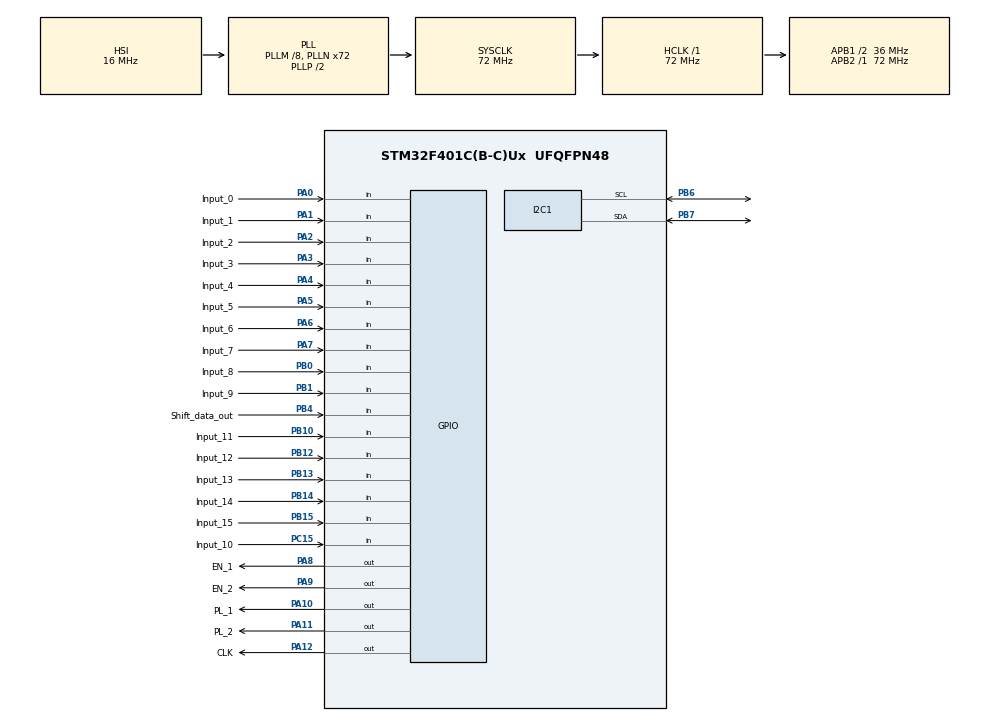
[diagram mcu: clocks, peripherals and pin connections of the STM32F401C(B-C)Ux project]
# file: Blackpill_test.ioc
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Mcu.Family=STM32F4
Mcu.Name=STM32F401C(B-C)Ux
Mcu.Package=UFQFPN48
NVIC.PriorityGroup=NVIC_PRIORITYGROUP_4
PA0-WKUP.GPIO_Label=Input_0
PA0-WKUP.GPIO_PuPd=GPIO_PULLUP
PA0-WKUP.Signal=GPIO_Input
PA1.GPIO_Label=Input_1
PA1.GPIO_PuPd=GPIO_PULLUP
PA1.Signal=GPIO_Input
PA10.GPIO_Label=PL_1
PA10.Signal=GPIO_Output
PA11.GPIO_Label=PL_2
PA11.Signal=GPIO_Output
PA12.GPIO_Label=CLK
PA12.Signal=GPIO_Output
PA13.Mode=Serial_Wire
PA13.Signal=SYS_JTMS-SWDIO
PA14.Mode=Serial_Wire
PA14.Signal=SYS_JTCK-SWCLK
PA2.GPIO_Label=Input_2
PA2.GPIO_PuPd=GPIO_PULLUP
PA2.Signal=GPIO_Input
PA3.GPIO_Label=Input_3
PA3.GPIO_PuPd=GPIO_PULLUP
PA3.Signal=GPIO_Input
PA4.GPIO_Label=Input_4
PA4.GPIO_PuPd=GPIO_PULLUP
PA4.Signal=GPIO_Input
PA5.GPIO_Label=Input_5
PA5.GPIO_PuPd=GPIO_PULLUP
PA5.Signal=GPIO_Input
PA6.GPIO_Label=Input_6
PA6.GPIO_PuPd=GPIO_PULLUP
PA6.Signal=GPIO_Input
PA7.GPIO_Label=Input_7
PA7.GPIO_PuPd=GPIO_PULLUP
PA7.Signal=GPIO_Input
PA8.GPIO_Label=EN_1
PA8.GPIO_PuPd=GPIO_NOPULL
PA8.Signal=GPIO_Output
PA9.GPIO_Label=EN_2
PA9.Signal=GPIO_Output
PB0.GPIO_Label=Input_8
PB0.GPIO_PuPd=GPIO_PULLUP
PB0.Signal=GPIO_Input
PB1.GPIO_Label=Input_9
PB1.GPIO_PuPd=GPIO_PULLUP
PB1.Signal=GPIO_Input
PB10.GPIO_Label=Input_11
PB10.GPIO_PuPd=GPIO_PULLUP
PB10.Signal=GPIO_Input
PB12.GPIO_Label=Input_12
PB12.GPIO_PuPd=GPIO_PULLUP
PB12.Signal=GPIO_Input
PB13.GPIO_Label=Input_13
PB13.GPIO_PuPd=GPIO_PULLUP
PB13.Signal=GPIO_Input
PB14.GPIO_Label=Input_14
PB14.GPIO_PuPd=GPIO_PULLUP
PB14.Signal=GPIO_Input
PB15.GPIO_Label=Input_15
PB15.GPIO_PuPd=GPIO_PULLUP
PB15.Signal=GPIO_Input
PB4.GPIO_Label=Shift_data_out
PB4.Signal=GPIO_Input
PB6.Mode=I2C
PB6.Signal=I2C1_SCL
PB7.Mode=I2C
PB7.Signal=I2C1_SDA
PC15-OSC32_OUT.GPIO_Label=Input_10
PC15-OSC32_OUT.GPIO_PuPd=GPIO_PULLUP
PC15-OSC32_OUT.Signal=GPIO_Input
ProjectManager.HeapSize=0x200
ProjectManager.StackSize=0x400
ProjectManager.TargetToolchain=STM32CubeIDE
RCC.48MHZClocksFreq_Value=36000000
RCC.AHBFreq_Value=72000000
RCC.APB1CLKDivider=RCC_HCLK_DIV2
RCC.APB1Freq_Value=36000000
RCC.APB1TimFreq_Value=72000000
RCC.APB2Freq_Value=72000000
RCC.APB2TimFreq_Value=72000000
RCC.CortexFreq_Value=72000000
RCC.HCLKFreq_Value=72000000
RCC.HSE_VALUE=25000000
RCC.HSI_VALUE=16000000
RCC.LSE_VALUE=32768
RCC.PLLM=8
RCC.PLLN=72
RCC.SYSCLKFreq_VALUE=72000000
RCC.SYSCLKSource=RCC_SYSCLKSOURCE_PLLCLK
RCC.VCOOutputFreq_Value=144000000
TIM1.Period=0xffff-1
TIM1.Prescaler=72-1
VP_TIM1_VS_ClockSourceINT.Mode=Internal
board=custom

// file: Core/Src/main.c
/* USER CODE BEGIN Header */
/**
  ******************************************************************************
  * @file           : main.c
  * @brief          : Main program body
  ******************************************************************************
  * @attention
  *
  * Copyright (c) 2023 STMicroelectronics.
  * All rights reserved.
  *
  * This software is licensed under terms that can be found in the LICENSE file
  * in the root directory of this software component.
  * If no LICENSE file comes with this software, it is provided AS-IS.
  *
  ******************************************************************************
  */
/* USER CODE END Header */
#include "main.h"

/* USER CODE BEGIN Includes */
#include "MCP4725.h"
#include <stdbool.h>

#define DAC8051_add_w  0x90
#define DAC8051_add_r  0x91

uint8_t tx_data1 = 0x08 ;
uint16_t rx_data1 = 0 ;

//uint8_t tx_data2 = 0x08

uint16_t tx_data2 = 0 ;
uint16_t tx_data3 = 65500 ;

uint16_t parallel_data_temp = 0;
uint16_t parallel_data = 0;
 uint16_t serial_data_temp = 0;
 uint16_t serial_data_temp1 = 0;
 uint16_t serial_data= 0;
bool is_mcp_connected = 0;
bool  input0 = false ;
 bool temp = false ;

MCP4725 myMCP4725;
uint32_t micro_seconds = 0;

/* USER CODE END Includes */

I2C_HandleTypeDef hi2c1;

TIM_HandleTypeDef htim1;

void SystemClock_Config(void);
static void MX_GPIO_Init(void);
static void MX_I2C1_Init(void);
static void MX_TIM1_Init(void);

/* USER CODE BEGIN 0 */

void parallel_data_read()
{
	parallel_data_temp = 0x0000;
	parallel_data_temp = HAL_GPIO_ReadPin(Input_0_GPIO_Port, Input_0_Pin) | 0x0000 ;
    parallel_data_temp |= HAL_GPIO_ReadPin(Input_1_GPIO_Port, Input_1_Pin) << 1 ;
    parallel_data_temp |= HAL_GPIO_ReadPin(Input_2_GPIO_Port, Input_2_Pin) << 2 ;
    parallel_data_temp |= HAL_GPIO_ReadPin(Input_3_GPIO_Port, Input_3_Pin) << 3 ;
    parallel_data_temp |= HAL_GPIO_ReadPin(Input_4_GPIO_Port, Input_4_Pin) << 4 ;
    parallel_data_temp |= HAL_GPIO_ReadPin(Input_5_GPIO_Port, Input_5_Pin) << 5 ;
    parallel_data_temp |= HAL_GPIO_ReadPin(Input_6_GPIO_Port, Input_6_Pin) << 6 ;
    parallel_data_temp |= HAL_GPIO_ReadPin(Input_7_GPIO_Port, Input_7_Pin) << 7 ;
    parallel_data_temp |= HAL_GPIO_ReadPin(Input_8_GPIO_Port, Input_8_Pin) << 8 ;
    parallel_data_temp |= HAL_GPIO_ReadPin(Input_9_GPIO_Port, Input_9_Pin) << 9 ;
    parallel_data_temp |= HAL_GPIO_ReadPin(Input_10_GPIO_Port, Input_10_Pin) << 10 ;
    parallel_data_temp |= HAL_GPIO_ReadPin(Input_11_GPIO_Port, Input_11_Pin) << 11 ;
    parallel_data_temp |= HAL_GPIO_ReadPin(Input_12_GPIO_Port, Input_12_Pin) << 12 ;
    parallel_data_temp |= HAL_GPIO_ReadPin(Input_13_GPIO_Port, Input_13_Pin) << 13 ;
    parallel_data_temp |= HAL_GPIO_ReadPin(Input_14_GPIO_Port, Input_14_Pin) << 14 ;
    parallel_data_temp |= HAL_GPIO_ReadPin(Input_15_GPIO_Port, Input_15_Pin) << 15 ;

    parallel_data_temp = ~ parallel_data_temp ;
    parallel_data = parallel_data_temp ;

}

void serial_data_read()
{
	HAL_GPIO_WritePin(EN_1_GPIO_Port , EN_1_Pin , 0);
	HAL_GPIO_WritePin(EN_2_GPIO_Port , EN_2_Pin , 0);
	HAL_GPIO_WritePin(PL_1_GPIO_Port , PL_1_Pin , 0);
	HAL_Delay(2);
	HAL_GPIO_WritePin(PL_1_GPIO_Port , PL_1_Pin , 1);
	HAL_GPIO_WritePin(PL_2_GPIO_Port , PL_2_Pin , 1);

    serial_data_temp = 0;
	serial_data_temp1 = 0;

	HAL_Delay(10);

//	serial_data_temp =  HAL_GPIO_ReadPin(Shift_data_out_GPIO_Port, Shift_data_out_Pin);

     	for(int i=0 ; i<7 ; i++)
		{
			HAL_GPIO_WritePin(CLK_GPIO_Port , CLK_Pin , 1);
		    HAL_Delay(2);
		    HAL_GPIO_WritePin(CLK_GPIO_Port , CLK_Pin , 0);
			HAL_Delay(2);
		}

	for(int i=0 ; i<8 ; i++)
	{
		HAL_GPIO_WritePin(CLK_GPIO_Port , CLK_Pin , 1);
	    HAL_Delay(2);
	    HAL_GPIO_WritePin(CLK_GPIO_Port , CLK_Pin , 0);
		HAL_Delay(2);
		temp = HAL_GPIO_ReadPin(Shift_data_out_GPIO_Port, Shift_data_out_Pin) ;
		serial_data_temp |=  HAL_GPIO_ReadPin(Shift_data_out_GPIO_Port, Shift_data_out_Pin) << i;
	}

	HAL_GPIO_WritePin(EN_1_GPIO_Port , EN_1_Pin , 1);
	HAL_GPIO_WritePin(PL_2_GPIO_Port , PL_2_Pin , 0);
	HAL_Delay(2);
	HAL_GPIO_WritePin(PL_2_GPIO_Port , PL_2_Pin , 1);

	serial_data_temp1 |=  HAL_GPIO_ReadPin(Shift_data_out_GPIO_Port, Shift_data_out_Pin) ;

	for(int i = 1; i < 8 ; i++)
	{
		HAL_GPIO_WritePin(CLK_GPIO_Port , CLK_Pin , 1);
	    HAL_Delay(2);
        HAL_GPIO_WritePin(CLK_GPIO_Port , CLK_Pin , 0);
        HAL_Delay(2);
	    temp = HAL_GPIO_ReadPin(Shift_data_out_GPIO_Port, Shift_data_out_Pin);
	    serial_data_temp1 |=  HAL_GPIO_ReadPin(Shift_data_out_GPIO_Port, Shift_data_out_Pin) << (i);
	}

	HAL_GPIO_WritePin(EN_2_GPIO_Port , EN_2_Pin , 1);
	serial_data_temp = ~ serial_data_temp ;
	serial_data = serial_data_temp ;
}

void serial_data_read2()
{
	HAL_GPIO_WritePin(EN_1_GPIO_Port , EN_1_Pin , 0);
	HAL_GPIO_WritePin(EN_2_GPIO_Port , EN_2_Pin , 0);
	HAL_GPIO_WritePin(PL_1_GPIO_Port , PL_1_Pin , 0);
	HAL_GPIO_WritePin(PL_2_GPIO_Port , PL_2_Pin , 0);
	HAL_Delay(3);
	HAL_GPIO_WritePin(PL_1_GPIO_Port , PL_1_Pin , 1);
    HAL_GPIO_WritePin(PL_2_GPIO_Port , PL_2_Pin , 1);

    for(int i=0 ; i < 16 ; i++)
    {
    	temp = HAL_GPIO_ReadPin(Shift_data_out_GPIO_Port, Shift_data_out_Pin) ;
    	serial_data_temp |=  HAL_GPIO_ReadPin(Shift_data_out_GPIO_Port, Shift_data_out_Pin) << i;

        HAL_GPIO_WritePin(CLK_GPIO_Port , CLK_Pin , 1);
    	HAL_Delay(2);
        HAL_GPIO_WritePin(CLK_GPIO_Port , CLK_Pin , 0);
        HAL_Delay(2);

    }

	HAL_GPIO_WritePin(EN_2_GPIO_Port , EN_2_Pin , 1);
	HAL_GPIO_WritePin(EN_1_GPIO_Port , EN_1_Pin , 1);
	serial_data_temp = ~ serial_data_temp ;
	serial_data = serial_data_temp ;
}

void dac80501()
{

HAL_I2C_Master_Transmit(&hi2c1, DAC8051_add_w, &tx_data1, 1, 100);
HAL_I2C_Master_Receive(&hi2c1, DAC8051_add_r, &rx_data1, 2 ,100);

HAL_I2C_Master_Transmit(&hi2c1, DAC8051_add_w, &tx_data2, 1, 100);
HAL_I2C_Master_Receive(&hi2c1, DAC8051_add_r, &rx_data1, 2 ,100);

HAL_I2C_Master_Transmit(&hi2c1, DAC8051_add_w, &tx_data1, 1, 100);
HAL_I2C_Master_Receive(&hi2c1, DAC8051_add_r, &rx_data1, 2 ,100);

HAL_I2C_Master_Transmit(&hi2c1, DAC8051_add_w, &tx_data3, 1, 100);
HAL_I2C_Master_Receive(&hi2c1, DAC8051_add_r, &rx_data1, 2 ,100);

}

uint8_t setValue(uint16_t value){
	return MCP4725_setValue(&myMCP4725, value, MCP4725_FAST_MODE, MCP4725_POWER_DOWN_OFF);
}

void delay_us (uint16_t us)
{
	__HAL_TIM_SET_COUNTER(&htim1,0);  // set the counter value a 0
	while (__HAL_TIM_GET_COUNTER(&htim1) < us);  // wait for the counter to reach the us input in the parameter
}

/* USER CODE END 0 */

int main(void)
{

  /* MCU Configuration--------------------------------------------------------*/

  /* Reset of all peripherals, Initializes the Flash interface and the Systick. */
  HAL_Init();

  /* Configure the system clock */
  SystemClock_Config();

  /* Initialize all configured peripherals */
  MX_GPIO_Init();
  MX_I2C1_Init();
  MX_TIM1_Init();

  HAL_TIM_Base_Start(&htim1);
  /* USER CODE BEGIN 2 */
//  myMCP4725 = MCP4725_init(&hi2c1, MCP4725A0_ADDR_A00, 3.3);
//  		// Check the connection:
//  		if(MCP4725_isConnected(&myMCP4725)){
//  			is_mcp_connected = 1;
//  		}
//  		else{
//  			is_mcp_connected = 0;
////  			while(1);
//  		}

  		HAL_GPIO_WritePin(CLK_GPIO_Port , CLK_Pin , 0);
  /* USER CODE END 2 */

  /* Infinite loop */
  while (1)
  {

    /* USER CODE BEGIN 3 */
//	  parallel_data_read();
//	  serial_data_read();
//	  serial_data_read2();

	  dac80501() ;

//	  digitalWrite(EnablePin, HIGH);
//	      digitalWrite(LoadPin, LOW);
//	      delayMicroseconds(5);
//	      digitalWrite(LoadPin, HIGH);
//	      digitalWrite(EnablePin, LOW);
//
//	      for(int i = 0; i < DATA_WIDTH; i++)
//	      {
//	          bitVal = digitalRead(DataPin);
//	          bytesVal |= (bitVal << ((DATA_WIDTH-1) - i));
//
//	          digitalWrite(ClockPin, HIGH);
//	          delayMicroseconds(5);
//	          digitalWrite(ClockPin, LOW);
//	      }
//	  serial_data_temp = 0;
//
//	           	  	HAL_GPIO_WritePin(EN_1_GPIO_Port , EN_1_Pin , 1);
//	      	     	HAL_GPIO_WritePin(PL_1_GPIO_Port , PL_1_Pin , 0);
////	      	     	HAL_Delay(5);
//	      	     	delay_us(5);
//	      	     	HAL_GPIO_WritePin(PL_1_GPIO_Port , PL_1_Pin , 1);
//	      	     	HAL_GPIO_WritePin(EN_1_GPIO_Port , EN_1_Pin , 0);
//
//	      	     	HAL_Delay(1000);
//
//	      	     	for (int i=0 ; i<7 ; i++)
//	      	     	{
//	      	     	 HAL_Delay(5);
//	      	     		temp = HAL_GPIO_ReadPin(Shift_data_out_GPIO_Port, Shift_data_out_Pin);
//	      	     	    serial_data_temp |=  HAL_GPIO_ReadPin(Shift_data_out_GPIO_Port, Shift_data_out_Pin) << (i);
//	      	     	 HAL_Delay(3);
//
//
//	      	         HAL_GPIO_WritePin(CLK_GPIO_Port , CLK_Pin , 1);
////	      	        HAL_Delay(10);
//	      	        delay_us(5);
//	      	         HAL_GPIO_WritePin(CLK_GPIO_Port , CLK_Pin , 0);
////	      	        HAL_Delay(10);
//
//	      	     	}
//
//	serial_data = serial_data_temp ;

//     	  	HAL_GPIO_WritePin(EN_1_GPIO_Port , EN_1_Pin , 1);
//	     	HAL_GPIO_WritePin(PL_2_GPIO_Port , PL_2_Pin , 0);

//	        HAL_GPIO_WritePin(CLK_GPIO_Port , CLK_Pin , 0);
//	  		HAL_Delay(2);
//	  		HAL_GPIO_WritePin(CLK_GPIO_Port , CLK_Pin , 1);
//	  		HAL_Delay(2);

//	  setValue(parallel_data >> 4);

//	  	input0 = HAL_GPIO_ReadPin(Input_0_GPIO_Port, Input_0_Pin) ;
//	  	input0 = HAL_GPIO_ReadPin(Input_1_GPIO_Port, Input_1_Pin) ;
//	  	input0 = HAL_GPIO_ReadPin(Input_2_GPIO_Port, Input_2_Pin)  ;
//	  	input0 = HAL_GPIO_ReadPin(Input_3_GPIO_Port, Input_3_Pin) ;
//	  	input0 = HAL_GPIO_ReadPin(Input_4_GPIO_Port, Input_4_Pin)  ;
//	  	input0 = HAL_GPIO_ReadPin(Input_5_GPIO_Port, Input_5_Pin)  ;
//	  	input0 = HAL_GPIO_ReadPin(Input_6_GPIO_Port, Input_6_Pin) ;
//	  	input0 = HAL_GPIO_ReadPin(Input_7_GPIO_Port, Input_7_Pin)  ;
//	  	input0 = HAL_GPIO_ReadPin(Input_8_GPIO_Port, Input_8_Pin) ;
//	  	input0 = HAL_GPIO_ReadPin(Input_9_GPIO_Port, Input_9_Pin)  ;
//		input0 = HAL_GPIO_ReadPin(Input_10_GPIO_Port, Input_10_Pin) ;
//		input0  = HAL_GPIO_ReadPin(Input_11_GPIO_Port, Input_11_Pin) ;
//		input0  = HAL_GPIO_ReadPin(Input_12_GPIO_Port, Input_12_Pin)  ;
//		input0  = HAL_GPIO_ReadPin(Input_13_GPIO_Port, Input_13_Pin)  ;
//		input0 = HAL_GPIO_ReadPin(Input_14_GPIO_Port, Input_14_Pin)  ;
//		input0 = HAL_GPIO_ReadPin(Input_15_GPIO_Port, Input_15_Pin) ;

  }
  /* USER CODE END 3 */
}

void SystemClock_Config(void)
{
  RCC_OscInitTypeDef RCC_OscInitStruct = {0};
  RCC_ClkInitTypeDef RCC_ClkInitStruct = {0};

  /** Configure the main internal regulator output voltage
  */
  __HAL_RCC_PWR_CLK_ENABLE();
  __HAL_PWR_VOLTAGESCALING_CONFIG(PWR_REGULATOR_VOLTAGE_SCALE2);

  /** Initializes the RCC Oscillators according to the specified parameters
  * in the RCC_OscInitTypeDef structure.
  */
  RCC_OscInitStruct.OscillatorType = RCC_OSCILLATORTYPE_HSI;
  RCC_OscInitStruct.HSIState = RCC_HSI_ON;
  RCC_OscInitStruct.HSICalibrationValue = RCC_HSICALIBRATION_DEFAULT;
  RCC_OscInitStruct.PLL.PLLState = RCC_PLL_ON;
  RCC_OscInitStruct.PLL.PLLSource = RCC_PLLSOURCE_HSI;
  RCC_OscInitStruct.PLL.PLLM = 8;
  RCC_OscInitStruct.PLL.PLLN = 72;
  RCC_OscInitStruct.PLL.PLLP = RCC_PLLP_DIV2;
  RCC_OscInitStruct.PLL.PLLQ = 4;
  if (HAL_RCC_OscConfig(&RCC_OscInitStruct) != HAL_OK)
  {
    Error_Handler();
  }

  /** Initializes the CPU, AHB and APB buses clocks
  */
  RCC_ClkInitStruct.ClockType = RCC_CLOCKTYPE_HCLK|RCC_CLOCKTYPE_SYSCLK
                              |RCC_CLOCKTYPE_PCLK1|RCC_CLOCKTYPE_PCLK2;
  RCC_ClkInitStruct.SYSCLKSource = RCC_SYSCLKSOURCE_PLLCLK;
  RCC_ClkInitStruct.AHBCLKDivider = RCC_SYSCLK_DIV1;
  RCC_ClkInitStruct.APB1CLKDivider = RCC_HCLK_DIV2;
  RCC_ClkInitStruct.APB2CLKDivider = RCC_HCLK_DIV1;

  if (HAL_RCC_ClockConfig(&RCC_ClkInitStruct, FLASH_LATENCY_2) != HAL_OK)
  {
    Error_Handler();
  }
}

static void MX_I2C1_Init(void)
{

  hi2c1.Instance = I2C1;
  hi2c1.Init.ClockSpeed = 100000;
  hi2c1.Init.DutyCycle = I2C_DUTYCYCLE_2;
  hi2c1.Init.OwnAddress1 = 0;
  hi2c1.Init.AddressingMode = I2C_ADDRESSINGMODE_7BIT;
  hi2c1.Init.DualAddressMode = I2C_DUALADDRESS_DISABLE;
  hi2c1.Init.OwnAddress2 = 0;
  hi2c1.Init.GeneralCallMode = I2C_GENERALCALL_DISABLE;
  hi2c1.Init.NoStretchMode = I2C_NOSTRETCH_DISABLE;
  if (HAL_I2C_Init(&hi2c1) != HAL_OK)
  {
    Error_Handler();
  }

}

static void MX_TIM1_Init(void)
{

  TIM_ClockConfigTypeDef sClockSourceConfig = {0};
  TIM_MasterConfigTypeDef sMasterConfig = {0};

  htim1.Instance = TIM1;
  htim1.Init.Prescaler = 72-1;
  htim1.Init.CounterMode = TIM_COUNTERMODE_UP;
  htim1.Init.Period = 0xffff-1;
  htim1.Init.ClockDivision = TIM_CLOCKDIVISION_DIV1;
  htim1.Init.RepetitionCounter = 0;
  htim1.Init.AutoReloadPreload = TIM_AUTORELOAD_PRELOAD_DISABLE;
  if (HAL_TIM_Base_Init(&htim1) != HAL_OK)
  {
    Error_Handler();
  }
  sClockSourceConfig.ClockSource = TIM_CLOCKSOURCE_INTERNAL;
  if (HAL_TIM_ConfigClockSource(&htim1, &sClockSourceConfig) != HAL_OK)
  {
    Error_Handler();
  }
  sMasterConfig.MasterOutputTrigger = TIM_TRGO_RESET;
  sMasterConfig.MasterSlaveMode = TIM_MASTERSLAVEMODE_DISABLE;
  if (HAL_TIMEx_MasterConfigSynchronization(&htim1, &sMasterConfig) != HAL_OK)
  {
    Error_Handler();
  }

}

static void MX_GPIO_Init(void)
{
  GPIO_InitTypeDef GPIO_InitStruct = {0};

  /* GPIO Ports Clock Enable */
  __HAL_RCC_GPIOC_CLK_ENABLE();
  __HAL_RCC_GPIOA_CLK_ENABLE();
  __HAL_RCC_GPIOB_CLK_ENABLE();

  /*Configure GPIO pin Output Level */
  HAL_GPIO_WritePin(GPIOA, EN_1_Pin|EN_2_Pin|PL_1_Pin|PL_2_Pin
                          |CLK_Pin, GPIO_PIN_RESET);

  /*Configure GPIO pin : Input_10_Pin */
  GPIO_InitStruct.Pin = Input_10_Pin;
  GPIO_InitStruct.Mode = GPIO_MODE_INPUT;
  GPIO_InitStruct.Pull = GPIO_PULLUP;
  HAL_GPIO_Init(Input_10_GPIO_Port, &GPIO_InitStruct);

  /*Configure GPIO pins : Input_0_Pin Input_1_Pin Input_2_Pin Input_3_Pin
                           Input_4_Pin Input_5_Pin Input_6_Pin Input_7_Pin */
  GPIO_InitStruct.Pin = Input_0_Pin|Input_1_Pin|Input_2_Pin|Input_3_Pin
                          |Input_4_Pin|Input_5_Pin|Input_6_Pin|Input_7_Pin;
  GPIO_InitStruct.Mode = GPIO_MODE_INPUT;
  GPIO_InitStruct.Pull = GPIO_PULLUP;
  HAL_GPIO_Init(GPIOA, &GPIO_InitStruct);

  /*Configure GPIO pins : Input_8_Pin Input_9_Pin Input_11_Pin Input_12_Pin
                           Input_13_Pin Input_14_Pin Input_15_Pin */
  GPIO_InitStruct.Pin = Input_8_Pin|Input_9_Pin|Input_11_Pin|Input_12_Pin
                          |Input_13_Pin|Input_14_Pin|Input_15_Pin;
  GPIO_InitStruct.Mode = GPIO_MODE_INPUT;
  GPIO_InitStruct.Pull = GPIO_PULLUP;
  HAL_GPIO_Init(GPIOB, &GPIO_InitStruct);

  /*Configure GPIO pins : EN_1_Pin EN_2_Pin PL_1_Pin PL_2_Pin
                           CLK_Pin */
  GPIO_InitStruct.Pin = EN_1_Pin|EN_2_Pin|PL_1_Pin|PL_2_Pin
                          |CLK_Pin;
  GPIO_InitStruct.Mode = GPIO_MODE_OUTPUT_PP;
  GPIO_InitStruct.Pull = GPIO_NOPULL;
  GPIO_InitStruct.Speed = GPIO_SPEED_FREQ_LOW;
  HAL_GPIO_Init(GPIOA, &GPIO_InitStruct);

  /*Configure GPIO pin : Shift_data_out_Pin */
  GPIO_InitStruct.Pin = Shift_data_out_Pin;
  GPIO_InitStruct.Mode = GPIO_MODE_INPUT;
  GPIO_InitStruct.Pull = GPIO_NOPULL;
  HAL_GPIO_Init(Shift_data_out_GPIO_Port, &GPIO_InitStruct);

}

void Error_Handler(void)
{
  __disable_irq();
  while (1)
  {
  }
}
